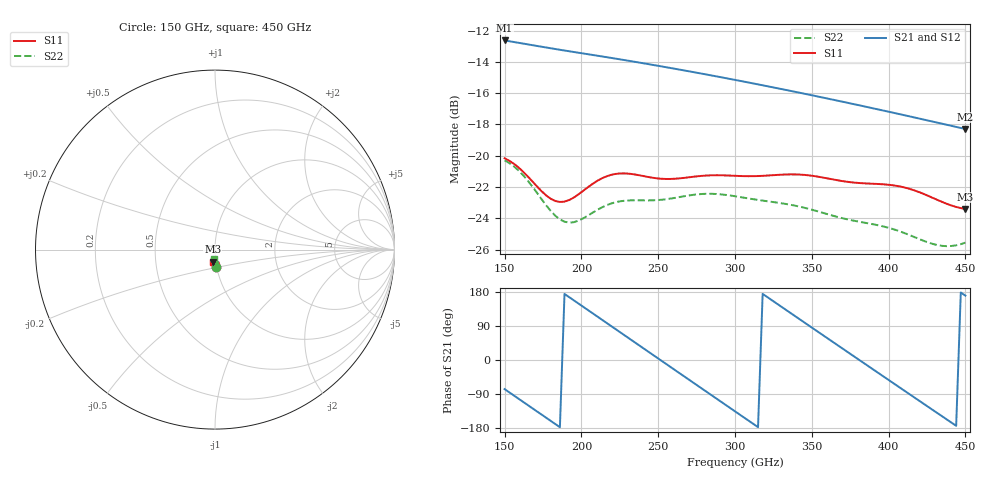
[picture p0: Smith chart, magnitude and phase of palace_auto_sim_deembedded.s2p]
! Created with skrf 1.11.0 (http://scikit-rf.org).
# GHz S DB R 50.0
!freq dBS11 angS11 dBS21 angS21 dBS12 angS12 dBS22 angS22
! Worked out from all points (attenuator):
!   101 points, 150 GHz to 450 GHz, reference 50 ohm
!   highest |S21| = -12.63 dB at 150 GHz (marker M1); lowest = -18.3 dB at 450 GHz (marker M2)
!   lowest |S11| = -23.4 dB at 450 GHz (marker M3), VSWR 1.14, Z = 48.4 - j6.46 ohm
!   |S11| at or under -10 dB: start of sweep to end of sweep
!   |S22| runs from -25.8 to -20.3 dB; largest |S21 - S12| = 5.1e-16
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150  -20.17 -85.6  -12.63 -76.8  -12.63 -76.8  -20.30 -86.7
162  -21.02 -88.9  -12.83 -110.4  -12.83 -110.4  -21.24 -91.5
177  -22.53 -86.5  -13.08 -152.2  -13.08 -152.2  -23.16 -91.7
189  -22.93 -78.7  -13.28 174.3  -13.28 174.3  -24.22 -84.1
201  -22.26 -73.8  -13.46 140.9  -13.46 140.9  -24.02 -76.3
213  -21.46 -74.8  -13.65 107.4  -13.65 107.4  -23.32 -74.4
225  -21.14 -78.6  -13.84 73.8  -13.84 73.8  -22.92 -76.1
240  -21.30 -82.5  -14.09 31.9  -14.09 31.9  -22.86 -78.5
252  -21.47 -83.4  -14.29 -1.6  -14.29 -1.6  -22.82 -79.4
264  -21.45 -83.7  -14.50 -35.1  -14.50 -35.1  -22.64 -80.6
276  -21.31 -84.9  -14.71 -68.6  -14.71 -68.6  -22.47 -83.2
288  -21.25 -86.9  -14.93 -102.0  -14.93 -102.0  -22.45 -86.5
300  -21.29 -88.7  -15.15 -135.5  -15.15 -135.5  -22.59 -89.5
321  -21.27 -90.8  -15.56 166.1  -15.56 166.1  -22.91 -93.4
336  -21.19 -93.2  -15.85 124.5  -15.85 124.5  -23.14 -96.1
351  -21.29 -96.2  -16.16 82.8  -16.16 82.8  -23.48 -98.8
366  -21.56 -98.3  -16.47 41.3  -16.47 41.3  -23.90 -100.3
378  -21.72 -99.0  -16.72 8.1  -16.72 8.1  -24.17 -100.9
402  -21.88 -101.5  -17.23 -58.2  -17.23 -58.2  -24.67 -102.5
423  -22.45 -104.2  -17.69 -116.0  -17.69 -116.0  -25.45 -101.7
438  -23.08 -103.3  -18.03 -157.2  -18.03 -157.2  -25.78 -97.4
450  -23.40 -100.5  -18.29 169.9  -18.29 169.9  -25.56 -93.2
